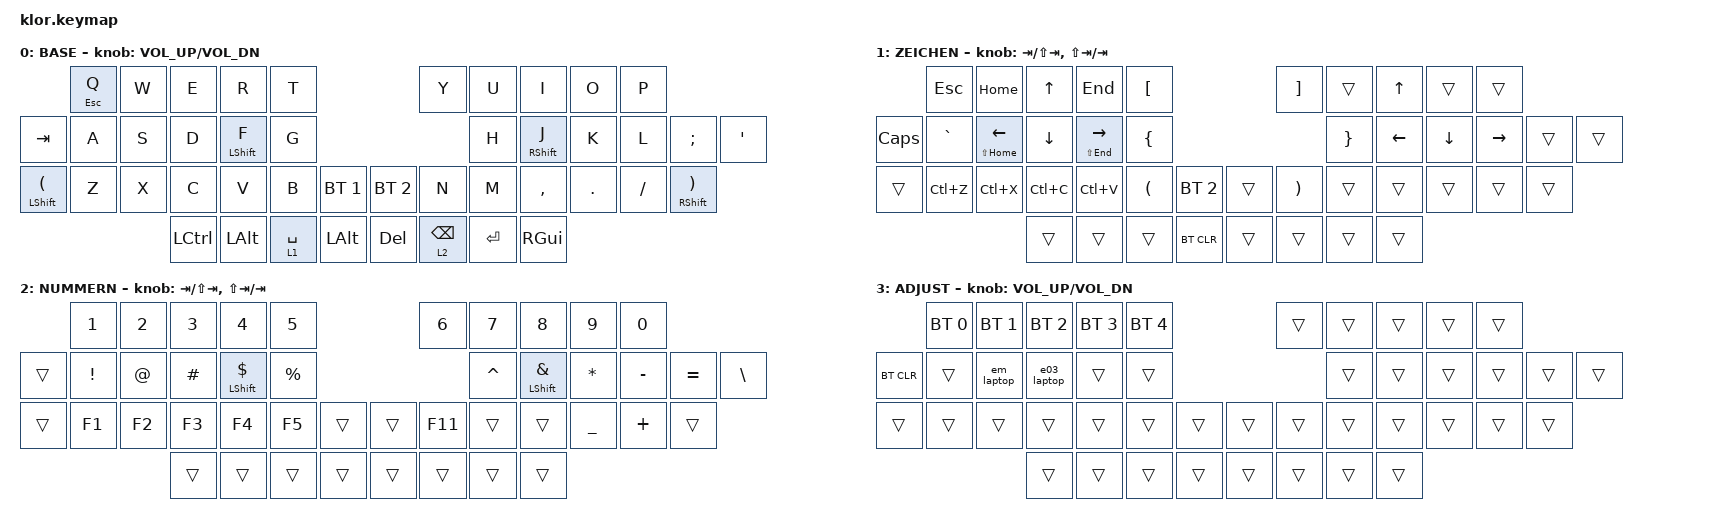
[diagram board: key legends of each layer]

//                               █         █    █            ▄▄▄▀▀▀▀▀▀▄▄▄        █▀▀▀▀▀▀▀▀▀▀█
//                               █        █     █          ▄▀            ▀▄      █          █
//                               █       █      █        ▄▀                ▀▄    █          █
//                               █      █       █        █                  █    █          █
//                               █     █        █       █                    █   █          █
//                               █    █         █       █                    █   █▄▄▄▄▄▄▄▄▄▄█
//                               █   █ █        █       █                    █   █      █
//                               █  █   █       █        █                  █    █       █
//                               █ █     █      █        ▀▄                ▄▀    █        █
//                               ██       █     █          ▀▄            ▄▀      █         █
//                               █         █    █▄▄▄▄▄▄▄▄    ▀▀▀▄▄▄▄▄▄▀▀▀        █          █
//
// ▄▄▄▄▄▄▄▄▄▄▄▄▄▄▄▄▄▄▄▄▄▄▄▄▄▄▄▄▄▄▄▄▄▄▄▄▄▄▄▄▄▄▄▄▄▄▄▄▄▄▄▄▄▄▄▄▄▄▄▄▄▄▄▄▄▄▄▄▄▄▄▄▄▄▄▄▄▄▄▄▄▄▄▄▄▄▄▄▄▄▄▄▄▄▄▄▄▄▄▄▄▄▄▄▄▄▄▄▄▄▄▄▄▄▄▄▄▄▄▄▄▄▄▄▄
       
#include <behaviors.dtsi>
#include <dt-bindings/zmk/keys.h>
#include <dt-bindings/zmk/bt.h>
#include <dt-bindings/zmk/outputs.h>
#include <dt-bindings/zmk/ext_power.h>



#define BASE   0
#define LOWER  1
#define RAISE  2
#define ADJUST 3


/ {
    behaviors {
               hm: homerow_mods {
            compatible = "zmk,behavior-hold-tap";
            label = "HOMEROW_MODS";
            #binding-cells = <2>;
            tapping-term-ms = <200>;
            quick-tap-ms = <0>;
            flavor = "tap-preferred";
            bindings = <&kp>, <&kp>;
        };

    };

     combos {
            compatible = "zmk,combos";
            combo_esc {
                timeout-ms = <50>;
                key-positions = <0 1>;
                bindings = <&kp ESC>;
            };
        
    };

    conditional_layers {
        compatible = "zmk,conditional-layers";
        tri_layer {
            if-layers = <1 2>;
            then-layer = <3>;
        };
    };

  macros {
        em_laptop: em_laptop {
            compatible = "zmk,behavior-macro";
            #binding-cells = <0>;
            bindings =
                <&macro_tap>,
                <&kp E &kp R &kp I &kp C &kp DOT &kp L &kp O &kp C &kp K &kp TAB>,
                <&macro_tap>,
                <&kp LS(R) &kp N5 &kp F &kp U &kp R &kp B &kp I &kp S &kp H &kp N2 &kp AT &kp LS(B) &kp L &kp N5 &kp M &kp I &kp S &kp H &kp AT &kp LS(E) &kp V &kp N5 &kp R &kp Y &kp O &kp N &kp N5 &kp RET>;
        };

        e03_laptop: e03_laptop {
            compatible = "zmk,behavior-macro";
            #binding-cells = <0>;
            bindings =
                <&macro_tap>,
                <&kp LS(W) &kp E &kp L &kp C &kp O &kp M &kp E &kp AT &kp N1 &kp N2 &kp N3 &kp EXCL &kp RET>;
        };
    };


        keymap {
                compatible = "zmk,keymap";
// ▄▄▄▄▄▄▄▄▄▄▄▄▄▄▄▄▄▄▄▄▄▄▄▄▄▄▄▄▄▄▄▄▄▄▄▄▄▄▄▄▄▄▄▄▄▄▄▄▄▄▄▄▄▄▄▄▄▄▄▄▄▄▄▄▄▄▄▄▄▄▄▄▄▄▄▄▄▄▄▄▄▄▄▄▄▄▄▄▄▄▄▄▄▄▄▄▄▄▄▄▄▄▄▄▄▄▄▄▄▄▄▄▄▄▄▄▄▄▄▄▄▄▄▄▄▄▄▄▄▄▄▄▄▄▄▄▄▄▄▄▄▄


                base_layer {
// ┌───────────────────────────────────────────────────────────┐
label= "BASE"                                                  ;
// └───────────────────────────────────────────────────────────┘

 bindings = <
 //╷         ╷         ╷         ╷         ╷                       ╷                       ╷           ╷╷         ╷            ╷             ╷         ╷          ╷          ╷         ╷
              &mt ESC Q     &kp W     &kp E     &kp R    &kp T                                  &kp Y        &kp U         &kp I     &kp O      &kp P
    &kp TAB   &kp A     &kp S     &kp D     &hm LSHFT F    &kp G                                  &kp H        &mt RSHFT J         &kp K     &kp L      &kp SEMI     &kp SQT
&mt LSHFT LPAR &kp Z    &kp X     &kp C     &kp V    &kp B        &bt BT_SEL 1       &bt BT_SEL 2       &kp N        &kp M         &kp COMMA   &kp DOT  &kp FSLH  &mt RSHFT RPAR
                                 &kp LCTRL &kp LALT  &lt 1 SPACE  &kp LALT     &kp DEL      &lt 2 BSPC     &kp RET   &kp RGUI    
                        >;
            sensor-bindings = <&inc_dec_kp C_VOL_UP C_VOL_DN>;
                };

// ▄▄▄▄▄▄▄▄▄▄▄▄▄▄▄▄▄▄▄▄▄▄▄▄▄▄▄▄▄▄▄▄▄▄▄▄▄▄▄▄▄▄▄▄▄▄▄▄▄▄▄▄▄▄▄▄▄▄▄▄▄▄▄▄▄▄▄▄▄▄▄▄▄▄▄▄▄▄▄▄▄▄▄▄▄▄▄▄▄▄▄▄▄▄▄▄▄▄▄▄▄▄▄▄▄▄▄▄▄▄▄▄▄▄▄▄▄▄▄▄▄▄▄▄▄▄▄▄▄▄▄▄▄▄▄▄▄▄▄▄▄▄


                signs_layer {
// ┌───────────────────────────────────────────────────────────┐
label= "ZEICHEN"                                                 ;
// └───────────────────────────────────────────────────────────┘

 bindings = <
 //╷        ╷            ╷          ╷           ╷             ╷            ╷        ╷╷         ╷         ╷         ╷         ╷         ╷         ╷         ╷
             &kp ESC      &kp HOME   &kp UP     &kp END        &kp LBKT                               &kp RBKT  &trans    &kp UP    &trans    &trans
    &kp CAPS &kp GRAVE    &mt LS(HOME) LEFT &kp DOWN &mt LS(END) RIGHT &kp LBRC                     &kp RBRC  &kp LEFT  &kp DOWN  &kp RIGHT &trans    &trans
    &trans   &kp LC(Z)   &kp LC(X)  &kp LC(C)   &kp LC(V)      &kp LPAR  &bt BT_SEL 2    &trans      &kp RPAR  &trans    &trans    &trans    &trans    &trans
                             &trans     &trans        &trans       &bt BT_CLR    &trans    &trans    &trans    &trans  
                        >;
            sensor-bindings = <&inc_dec_kp TAB LS(TAB) &inc_dec_kp LS(TAB) TAB>;
                };

// ▄▄▄▄▄▄▄▄▄▄▄▄▄▄▄▄▄▄▄▄▄▄▄▄▄▄▄▄▄▄▄▄▄▄▄▄▄▄▄▄▄▄▄▄▄▄▄▄▄▄▄▄▄▄▄▄▄▄▄▄▄▄▄▄▄▄▄▄▄▄▄▄▄▄▄▄▄▄▄▄▄▄▄▄▄▄▄▄▄▄▄▄▄▄▄▄▄▄▄▄▄▄▄▄▄▄▄▄▄▄▄▄▄▄▄▄▄▄▄▄▄▄▄▄▄


                num_layer {
// ┌───────────────────────────────────────────────────────────┐
label= "NUMMERN"                                                 ;
// └───────────────────────────────────────────────────────────┘

 bindings = <
 //╷         ╷       ╷       ╷       ╷       ╷              ╷         ╷╷         ╷         ╷                 ╷       ╷                ╷         ╷         ╷
              &kp N1  &kp N2  &kp N3  &kp N4  &kp N5                                &kp N6      &kp N7      &kp N8      &kp N9         &kp N0         
    &trans    &kp EXCL  &kp AT  &kp HASH  &mt LSHFT DLLR  &kp PRCNT                       &kp CARET  &mt LSHFT AMPS     &kp ASTRK  &kp MINUS       &kp EQUAL    &kp BSLH  
    &trans    &kp F1  &kp F2  &kp F3  &kp F4  &kp F5         &trans     &trans      &kp F11    &trans       &trans     &kp UNDER          &kp PLUS      &trans
                              &trans  &trans  &trans         &trans     &trans    &trans    &trans            &trans  
                        >;
            sensor-bindings = <&inc_dec_kp TAB LS(TAB) &inc_dec_kp LS(TAB) TAB>;
                };

// ▄▄▄▄▄▄▄▄▄▄▄▄▄▄▄▄▄▄▄▄▄▄▄▄▄▄▄▄▄▄▄▄▄▄▄▄▄▄▄▄▄▄▄▄▄▄▄▄▄▄▄▄▄▄▄▄▄▄▄▄▄▄▄▄▄▄▄▄▄▄▄▄▄▄▄▄▄▄▄▄▄▄▄▄▄▄▄▄▄▄▄▄▄▄▄▄▄▄▄▄▄▄▄▄▄▄▄▄▄▄▄▄▄▄▄▄▄▄▄▄▄▄▄▄▄


                adjust_layer {
// ┌───────────────────────────────────────────────────────────┐
label= "ADJUST"                                                ;
// └───────────────────────────────────────────────────────────┘
/*           ┌─────────┬─────────┬─────────┬─────────┬─────────┐                    ┌─────────┬─────────┬─────────┬─────────┬─────────┐
             │         │         │         │         │         │                    │         │         │         │         │         │
   ┌─────────┼─────────┼─────────┼─────────┼─────────┼─────────┤                    ├─────────┼─────────┼─────────┼─────────┼─────────┼─────────┐
   │         │         │         │         │         │         │                    │         │         │         │         │         │         │
   ├─────────┼─────────┼─────────┼─────────┼─────────┼─────────┤╭────────╮╭────────╮├─────────┼─────────┼─────────┼─────────┼─────────┼─────────┤
   │         │         │         │         │         │         ││        ││        ││         │         │         │         │         │         │
   └─────────┴─────────┴─────────┼─────────┼─────────┼─────────┼╰────────╯╰────────╯┼─────────┼─────────┼─────────┼─────────┴─────────┴─────────┘
                                 │         │         │         │         ││         │         │         │         │  
                                 └─────────┴─────────┴─────────┴─────────┘└─────────┴─────────┴─────────┴─────────┘ */ 
 bindings = <
 //╷         ╷         ╷         ╷         ╷         ╷         ╷         ╷╷         ╷         ╷         ╷         ╷         ╷         ╷         ╷
             &bt BT_SEL 0 &bt BT_SEL 1    &bt BT_SEL 2    &bt BT_SEL 3    &bt BT_SEL 4                         &trans    &trans    &trans    &trans    &trans   
    &bt BT_CLR   &trans &em_laptop    &e03_laptop    &trans    &trans                         &trans    &trans    &trans    &trans &trans   &trans 
    &trans   &trans &trans    &trans    &trans &trans    &trans     &trans    &trans &trans   &trans    &trans    &trans    &trans    
                                  &trans    &trans    &trans    &trans     &trans    &trans    &trans    &trans    
                        >;
            sensor-bindings = <&inc_dec_kp C_VOL_UP C_VOL_DN>;
                };
        };
};
